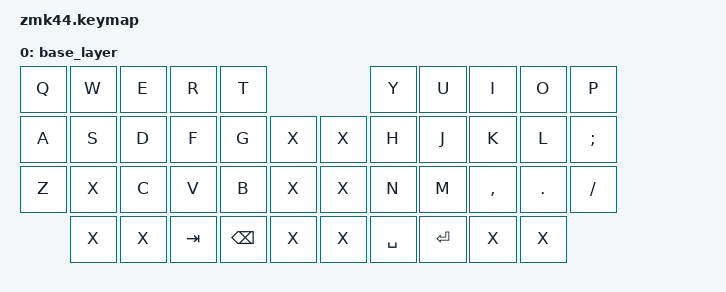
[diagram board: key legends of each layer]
#include <behaviors.dtsi>
#include <dt-bindings/zmk/keys.h>
#include <dt-bindings/zmk/bt.h>

/ {
    // possible hold tap and layer combos
    // behaviors {
    //     ht: hold_tap {
    //         compatible = "zmk,behavior-hold-tap";
    //         #binding-cells = <2>;
    //         flavor = "tap-preferred";
    //         tapping-term-ms = <220>;
    //         quick-tap-ms = <150>;
    //         global-quick-tap;
    //         bindings = <&kp>, <&kp>;
    //     };
    // };


    // conditional_layers {
    //     compatible = "zmk,conditional-layers";
    //     tri_layer {
    //         if-layers = <1 2>;
    //         then-layer = <3>;
    //     };
    // };





    keymap {
        compatible = "zmk,keymap";

        base_layer { // Layer 0    possible keys: &sys_reset   &bootloader    &bt BT_SEL 0   thru   &bt BT_SEL 5   &bt BT_CLR
            bindings = <
                &kp Q       &kp W       &kp E       &kp R       &kp T                                   &kp Y       &kp U       &kp I       &kp O       &kp P
                &kp A       &kp S       &kp D       &kp F       &kp G       &kp X           &kp X       &kp H       &kp J       &kp K       &kp L       &kp SEMI
                &kp Z       &kp X       &kp C       &kp V       &kp B       &kp X           &kp X       &kp N       &kp M       &kp COMMA   &kp DOT     &kp SLASH
                            &kp X       &kp X       &kp TAB     &kp BSPC    &kp X           &kp X       &kp SPACE   &kp ENTER   &kp X       &kp X
            >;
        };





    };
};
